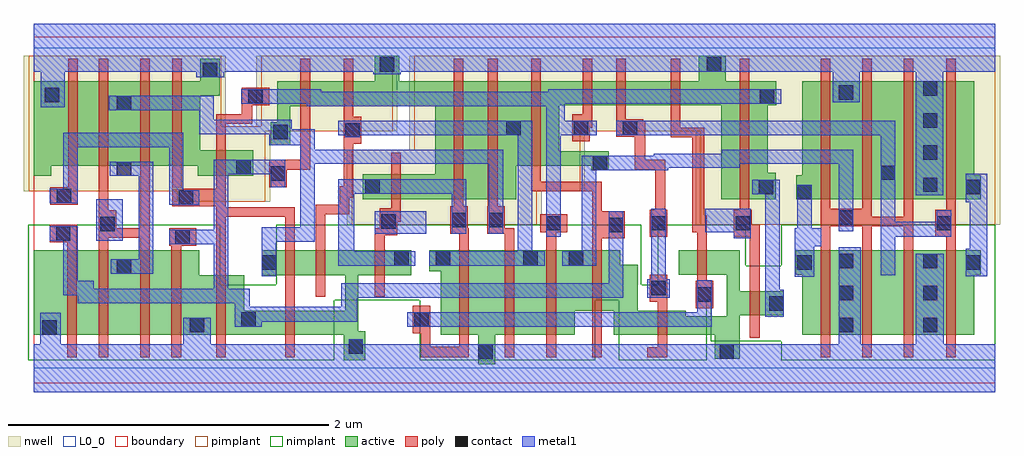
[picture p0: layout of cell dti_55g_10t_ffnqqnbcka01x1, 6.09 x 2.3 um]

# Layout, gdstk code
from math import pi, radians
import gdstk
lib = gdstk.Library(unit=1e-6, precision=1e-09)
def R(c, l, rs):  # rectangles x0, y0, x1, y1
    for r in rs: c.add(gdstk.rectangle(r[:2], r[2:], *l))
def A(c, l, x, y, w, h, nx, ny, dx, dy):  # array of equal rectangles
    R(c, l, [(x+i*dx, y+j*dy, x+i*dx+w, y+j*dy+h) for i in range(nx) for j in range(ny)])
L0_0 = (0, 0)
nwell = (3, 0)
active = (6, 0)
poly = (17, 0)
pimplant = (25, 0)
nimplant = (26, 0)
contact = (30, 0)
metal1 = (31, 0)
boundary = (108, 0)
L923_0 = (923, 0)

template_55g_10t = lib.new_cell('template_55g_10t')
R(template_55g_10t, metal1, [(0,-0.15,0.2,0.15), (0,1.85,0.2,2.15)])
template_55g_10t.add(gdstk.FlexPath([(0.2,0.21),(0,0.21)], 0, ends="flush", simple_path=True, layer=923, datatype=0))  # L923_0
template_55g_10t.add(gdstk.FlexPath([(0.2,0.735),(0,0.735)], 0, ends="flush", simple_path=True, layer=923, datatype=0))  # L923_0
template_55g_10t.add(gdstk.FlexPath([(0.2,0.895),(0,0.895)], 0, ends="flush", simple_path=True, layer=923, datatype=0))  # L923_0
template_55g_10t.add(gdstk.FlexPath([(0.2,1.055),(0,1.055)], 0, ends="flush", simple_path=True, layer=923, datatype=0))  # L923_0
template_55g_10t.add(gdstk.FlexPath([(0.2,1.79),(0,1.79)], 0, ends="flush", simple_path=True, layer=923, datatype=0))  # L923_0

cellgrid_nom2 = lib.new_cell('cellgrid_noM2')
R(cellgrid_nom2, L0_0, [(0,0,0.2,0.2)])
cellgrid_nom2.add(gdstk.FlexPath([(0.2,0),(0,0.2)], 0, ends="flush", simple_path=True, layer=0, datatype=0))  # L0_0
cellgrid_nom2.add(gdstk.FlexPath([(0.2,0.2),(0,0)], 0, ends="flush", simple_path=True, layer=0, datatype=0))  # L0_0

pmos_15_n_2 = lib.new_cell('pmos_15_n_2')
R(pmos_15_n_2, nwell, [(-0.275,-0.16,0.335,0.31)])
R(pmos_15_n_2, active, [(-0.115,0,0.175,0.15)])
R(pmos_15_n_2, poly, [(0,-0.14,0.06,0.29)])
R(pmos_15_n_2, pimplant, [(-0.245,-0.16,0.305,0.31)])

pmos_735_n_2 = lib.new_cell('pmos_735_n_2')
R(pmos_735_n_2, nwell, [(-0.275,-0.16,0.335,0.895)])
R(pmos_735_n_2, active, [(-0.115,0,0.175,0.735)])
R(pmos_735_n_2, poly, [(0,-0.14,0.06,0.875)])
R(pmos_735_n_2, pimplant, [(-0.245,-0.16,0.305,0.895)])

pmos_4_n_2 = lib.new_cell('pmos_4_n_2')
R(pmos_4_n_2, nwell, [(-0.275,-0.16,0.335,0.56)])
R(pmos_4_n_2, active, [(-0.115,0,0.175,0.4)])
R(pmos_4_n_2, poly, [(0,-0.14,0.06,0.54)])
R(pmos_4_n_2, pimplant, [(-0.245,-0.16,0.305,0.56)])

nmos_525_n_2 = lib.new_cell('nmos_525_n_2')
R(nmos_525_n_2, active, [(-0.115,0,0.175,0.525)])
R(nmos_525_n_2, poly, [(0,-0.14,0.06,0.665)])
R(nmos_525_n_2, nimplant, [(-0.245,-0.16,0.305,0.685)])

cnt = lib.new_cell('cnt')
R(cnt, contact, [(-0.045,-0.045,0.045,0.045)])
R(cnt, metal1, [(-0.045,-0.045,0.045,0.045)])

pcnt_v = lib.new_cell('pcnt_v')
R(pcnt_v, poly, [(-0.055,-0.085,0.055,0.085)])
pcnt_v.add(gdstk.Reference(cnt, (0,0)))

nmos_15_n_2 = lib.new_cell('nmos_15_n_2')
R(nmos_15_n_2, active, [(-0.115,0,0.175,0.15)])
R(nmos_15_n_2, poly, [(0,-0.14,0.06,0.29)])
R(nmos_15_n_2, nimplant, [(-0.245,-0.16,0.305,0.31)])

dti_55g_10t_ffnqqnbcka01 = lib.new_cell('dti_55g_10t_ffnqqnbcka01x1')
R(dti_55g_10t_ffnqqnbcka01, active, [(2.775,0.025,2.88,0.21), (1.935,0.05,2.07,0.23), (4.25,0.06,4.405,0.21), (0,0.21,1.035,0.735), (1.035,0.21,1.315,0.58), (1.315,0.21,1.945,0.36), (2.54,0.21,3.375,0.73), (3.62,0.21,4.07,0.36), (4.07,0.21,4.405,0.325), (1.945,0.23,2.025,0.595), (4.325,0.325,4.405,0.735), (4.645,0.33,4.68,0.48), (3.375,0.36,3.77,0.645), (1.425,0.58,2.355,0.735), (4.025,0.585,4.405,0.735), (4.755,0.585,4.88,0.735), (5.865,0.585,5.91,0.735), (2.47,0.605,2.54,0.735), (2.055,1.055,3.01,1.21), (4.51,1.055,4.63,1.22), (4.76,1.055,4.88,1.205), (5.79,1.055,5.91,1.205), (0,1.2,0.11,1.79), (1.03,1.2,1.37,1.36), (3.48,1.235,3.59,1.265), (3.28,1.265,3.59,1.355), (1.48,1.39,1.6,1.535), (1.52,1.535,1.6,1.79), (1.6,1.635,2.505,1.79), (3.28,1.64,4.635,1.79), (0.925,1.7,1.045,1.79), (1.04,1.7,1.16,1.93), (2.13,1.79,2.28,1.95), (4.15,1.79,4.32,1.95)])
A(dti_55g_10t_ffnqqnbcka01, poly, 4.91, 0.875, 0.06, 0.04, 3, 1, 0.26, 0)
R(dti_55g_10t_ffnqqnbcka01, poly, [(2.415,0.07,2.475,0.22), (2.475,0.07,2.715,0.135), (3.485,0.07,3.545,0.445), (3.83,0.07,3.955,0.13), (1.14,0.5,1.2,1.06), (1.57,0.5,1.63,0.945), (4.47,0.62,4.53,0.895), (3.545,0.81,3.58,0.98), (0.515,0.815,0.665,0.875), (4.11,0.85,4.2,0.955), (0.665,0.875,0.725,1.125), (1.76,0.875,1.82,1.02), (3.485,0.875,3.545,1.105), (5.695,0.875,5.755,0.915), (4.97,0.885,4.985,0.995), (5.155,0.885,5.17,0.995), (5.23,0.885,5.43,0.945), (1.2,0.945,1.63,1.005), (4.11,0.955,4.185,1.44), (1.82,0.96,1.97,1.02), (0.405,0.985,0.465,1.125), (3.88,0.99,3.94,1.24), (1.035,1.01,1.14,1.12), (1.91,1.02,1.97,1.135), (1.935,1.065,1.995,1.4), (3.105,1.105,3.545,1.165), (1.58,1.24,1.725,1.3), (3.75,1.24,3.815,1.545), (3.815,1.24,3.94,1.3), (1.665,1.3,1.725,1.5), (3.975,1.44,4.185,1.5), (1.14,1.49,1.2,1.585), (1.2,1.525,1.365,1.585), (1.3,1.585,1.365,1.64)])
R(dti_55g_10t_ffnqqnbcka01, metal1, [(0.04,0,0.17,0.345), (0.935,0.15,1.105,0.315), (5.025,0.15,5.16,0.755), (5.505,0.15,5.68,0.715), (1.255,0.26,1.425,0.385), (2.33,0.26,4.14,0.35), (4.14,0.26,4.23,0.55), (1.425,0.29,1.92,0.385), (1.92,0.29,2.02,0.44), (4.565,0.32,4.68,0.49), (1.255,0.385,1.35,0.495), (0.275,0.405,0.375,0.545), (0.375,0.405,1.255,0.495), (1.92,0.44,3.68,0.53), (3.83,0.44,3.97,0.555), (0.185,0.455,0.275,0.795), (4.565,0.49,4.655,1.085), (1.125,0.495,1.215,1.3), (3.59,0.53,3.68,0.98), (3.855,0.555,3.945,0.995), (4.75,0.57,4.87,0.76), (1.425,0.575,1.515,0.88), (5.815,0.575,5.95,0.745), (5.285,0.58,5.375,1.545), (0.48,0.59,0.745,0.68), (1.9,0.64,2,1.18), (2,0.64,2.38,0.73), (2.47,0.64,3.19,0.73), (3.3,0.64,3.51,0.73), (0.655,0.68,0.745,1.29), (3.02,0.73,3.11,1.455), (3.42,0.73,3.51,1.325), (5.84,0.745,5.95,1.035), (4.75,0.76,4.915,0.875), (0.845,0.775,1.125,0.865), (1.515,0.79,1.755,0.88), (0.1,0.795,0.275,0.885), (0.39,0.795,0.555,1.055), (4.37,0.81,4.475,0.85), (3.2,0.82,3.29,1.455), (5.375,0.82,5.64,0.915), (5.635,0.82,5.725,0.985), (2.13,0.84,2.45,0.98), (2.61,0.84,2.7,1.18), (2.84,0.84,2.93,1.28), (4.19,0.85,4.475,0.995), (5.025,0.855,5.115,1.275), (4.765,0.875,4.855,1.055), (1.665,0.88,1.755,1.275), (0.845,1.02,1.035,1.11), (0.1,1.03,0.275,1.12), (5.815,1.035,5.95,1.215), (5.505,1.08,5.675,1.85), (4.485,1.085,4.655,1.175), (2,1.09,2.61,1.18), (0.845,1.11,0.935,1.38), (0.185,1.12,0.275,1.47), (1.48,1.13,1.57,1.3), (0.475,1.2,0.655,1.29), (1.215,1.21,1.48,1.3), (3.51,1.235,3.96,1.325), (3.87,1.25,4.405,1.34), (1.665,1.275,1.755,1.49), (1.755,1.275,2.93,1.365), (4.295,1.275,5.115,1.365), (0.275,1.38,0.935,1.47), (1.47,1.39,1.61,1.55), (1.61,1.39,1.665,1.49), (1.9,1.455,3.11,1.545), (3.2,1.455,3.315,1.725), (3.315,1.455,3.515,1.545), (3.635,1.455,5.285,1.545), (1.035,1.46,1.125,1.7), (1.125,1.46,1.47,1.55), (0.47,1.61,1.035,1.7), (0.045,1.63,0.195,1.85), (1.705,1.635,1.795,1.74), (1.795,1.635,3.2,1.725), (1.295,1.65,1.705,1.74), (3.21,1.65,4.665,1.74), (4.985,1.66,5.155,1.85), (1.015,1.815,1.19,1.985), (2.12,1.835,2.29,1.85)])
R(dti_55g_10t_ffnqqnbcka01, boundary, [(0,-0.095,6,2.07)])
r = gdstk.Reference(template_55g_10t, (0,0)); r.repetition = gdstk.Repetition(30, 1, v1=(0.2,0), v2=(0,0)); dti_55g_10t_ffnqqnbcka01.add(r)
r = gdstk.Reference(cellgrid_nom2, (0,0)); r.repetition = gdstk.Repetition(30, 10, v1=(0.2,0), v2=(0,0.2)); dti_55g_10t_ffnqqnbcka01.add(r)
dti_55g_10t_ffnqqnbcka01.add(gdstk.Reference(pmos_15_n_2, (2.23,1.055)))
dti_55g_10t_ffnqqnbcka01.add(gdstk.Reference(pmos_735_n_2, (2.62,1.055)))
dti_55g_10t_ffnqqnbcka01.add(gdstk.Reference(pmos_735_n_2, (2.835,1.055)))
r = gdstk.Reference(pmos_4_n_2, (3.105,1.265)); r.repetition = gdstk.Repetition(1, 2, v1=(0,0), v2=(0,0.125)); dti_55g_10t_ffnqqnbcka01.add(r)
dti_55g_10t_ffnqqnbcka01.add(gdstk.Reference(pmos_735_n_2, (4.405,1.055)))
dti_55g_10t_ffnqqnbcka01.add(gdstk.Reference(pmos_735_n_2, (4.91,1.055)))
dti_55g_10t_ffnqqnbcka01.add(gdstk.Reference(pmos_735_n_2, (5.17,1.055)))
dti_55g_10t_ffnqqnbcka01.add(gdstk.Reference(pmos_735_n_2, (5.43,1.055)))
dti_55g_10t_ffnqqnbcka01.add(gdstk.Reference(pmos_735_n_2, (5.695,1.055)))
dti_55g_10t_ffnqqnbcka01.add(gdstk.Reference(nmos_525_n_2, (2.94,0.21)))
dti_55g_10t_ffnqqnbcka01.add(gdstk.Reference(nmos_525_n_2, (3.2,0.21)))
dti_55g_10t_ffnqqnbcka01.add(gdstk.Reference(pcnt_v, (2.655,0.925)))
dti_55g_10t_ffnqqnbcka01.add(gdstk.Reference(pcnt_v, (2.885,0.925)))
dti_55g_10t_ffnqqnbcka01.add(gdstk.Reference(cnt, (2.995,1.5)))
dti_55g_10t_ffnqqnbcka01.add(gdstk.Reference(pmos_15_n_2, (3.635,1.64)))
dti_55g_10t_ffnqqnbcka01.add(gdstk.Reference(pmos_15_n_2, (3.975,1.64)))
dti_55g_10t_ffnqqnbcka01.add(gdstk.Reference(pcnt_v, (3.415,1.5)))
dti_55g_10t_ffnqqnbcka01.add(gdstk.Reference(pcnt_v, (3.72,1.5), rotation=pi/2))
dti_55g_10t_ffnqqnbcka01.add(gdstk.Reference(pmos_15_n_2, (3.425,1.64)))
dti_55g_10t_ffnqqnbcka01.add(gdstk.Reference(cnt, (3.535,1.28)))
dti_55g_10t_ffnqqnbcka01.add(gdstk.Reference(cnt, (4.245,1.895)))
dti_55g_10t_ffnqqnbcka01.add(gdstk.Reference(cnt, (4.575,1.695)))
dti_55g_10t_ffnqqnbcka01.add(gdstk.Reference(cnt, (4.57,1.13)))
dti_55g_10t_ffnqqnbcka01.add(gdstk.Reference(cnt, (4.81,1.1)))
dti_55g_10t_ffnqqnbcka01.add(gdstk.Reference(cnt, (5.07,1.72)))
dti_55g_10t_ffnqqnbcka01.add(gdstk.Reference(cnt, (5.33,1.22)))
dti_55g_10t_ffnqqnbcka01.add(gdstk.Reference(cnt, (5.595,1.745)))
dti_55g_10t_ffnqqnbcka01.add(gdstk.Reference(cnt, (5.595,1.545)))
dti_55g_10t_ffnqqnbcka01.add(gdstk.Reference(cnt, (5.595,1.345)))
dti_55g_10t_ffnqqnbcka01.add(gdstk.Reference(cnt, (5.595,1.145)))
dti_55g_10t_ffnqqnbcka01.add(gdstk.Reference(cnt, (5.86,1.13)))
dti_55g_10t_ffnqqnbcka01.add(gdstk.Reference(cnt, (0.565,1.655)))
dti_55g_10t_ffnqqnbcka01.add(gdstk.Reference(cnt, (0.565,1.245)))
dti_55g_10t_ffnqqnbcka01.add(gdstk.Reference(cnt, (1.1,1.86)))
dti_55g_10t_ffnqqnbcka01.add(gdstk.Reference(cnt, (1.31,1.255)))
dti_55g_10t_ffnqqnbcka01.add(gdstk.Reference(cnt, (1.54,1.475)))
dti_55g_10t_ffnqqnbcka01.add(gdstk.Reference(cnt, (1.525,1.215)))
dti_55g_10t_ffnqqnbcka01.add(gdstk.Reference(cnt, (2.205,1.895)))
dti_55g_10t_ffnqqnbcka01.add(gdstk.Reference(cnt, (2.115,1.135)))
dti_55g_10t_ffnqqnbcka01.add(gdstk.Reference(pmos_15_n_2, (1.14,1.2)))
dti_55g_10t_ffnqqnbcka01.add(gdstk.Reference(pmos_15_n_2, (1.665,1.64)))
dti_55g_10t_ffnqqnbcka01.add(gdstk.Reference(pmos_15_n_2, (1.935,1.64)))
dti_55g_10t_ffnqqnbcka01.add(gdstk.Reference(pcnt_v, (0.19,1.075), rotation=pi/2))
dti_55g_10t_ffnqqnbcka01.add(gdstk.Reference(pcnt_v, (0.95,1.065), rotation=pi/2))
dti_55g_10t_ffnqqnbcka01.add(gdstk.Reference(pcnt_v, (1.525,1.215)))
dti_55g_10t_ffnqqnbcka01.add(gdstk.Reference(pcnt_v, (1.385,1.695), rotation=pi/2))
dti_55g_10t_ffnqqnbcka01.add(gdstk.Reference(pcnt_v, (1.99,1.485)))
r = gdstk.Reference(pmos_4_n_2, (0.215,1.265)); r.repetition = gdstk.Repetition(1, 2, v1=(0,0), v2=(0,0.125)); dti_55g_10t_ffnqqnbcka01.add(r)
r = gdstk.Reference(pmos_4_n_2, (0.405,1.265)); r.repetition = gdstk.Repetition(1, 2, v1=(0,0), v2=(0,0.125)); dti_55g_10t_ffnqqnbcka01.add(r)
r = gdstk.Reference(pmos_4_n_2, (0.665,1.265)); r.repetition = gdstk.Repetition(1, 2, v1=(0,0), v2=(0,0.125)); dti_55g_10t_ffnqqnbcka01.add(r)
r = gdstk.Reference(pmos_4_n_2, (0.865,1.265)); r.repetition = gdstk.Repetition(1, 2, v1=(0,0), v2=(0,0.125)); dti_55g_10t_ffnqqnbcka01.add(r)
dti_55g_10t_ffnqqnbcka01.add(gdstk.Reference(cnt, (0.115,1.705)))
dti_55g_10t_ffnqqnbcka01.add(gdstk.Reference(pcnt_v, (2.215,0.915)))
dti_55g_10t_ffnqqnbcka01.add(gdstk.Reference(nmos_15_n_2, (2.13,0.585)))
dti_55g_10t_ffnqqnbcka01.add(gdstk.Reference(nmos_525_n_2, (2.655,0.21)))
dti_55g_10t_ffnqqnbcka01.add(gdstk.Reference(nmos_525_n_2, (0.21,0.21)))
dti_55g_10t_ffnqqnbcka01.add(gdstk.Reference(nmos_525_n_2, (0.405,0.21)))
dti_55g_10t_ffnqqnbcka01.add(gdstk.Reference(pcnt_v, (2.42,0.305)))
dti_55g_10t_ffnqqnbcka01.add(gdstk.Reference(nmos_525_n_2, (0.665,0.21)))
dti_55g_10t_ffnqqnbcka01.add(gdstk.Reference(pcnt_v, (0.185,0.84), rotation=pi/2))
dti_55g_10t_ffnqqnbcka01.add(gdstk.Reference(pcnt_v, (0.46,0.9)))
dti_55g_10t_ffnqqnbcka01.add(gdstk.Reference(nmos_525_n_2, (0.86,0.21)))
dti_55g_10t_ffnqqnbcka01.add(gdstk.Reference(pcnt_v, (0.93,0.82), rotation=pi/2))
dti_55g_10t_ffnqqnbcka01.add(gdstk.Reference(nmos_15_n_2, (1.14,0.21)))
dti_55g_10t_ffnqqnbcka01.add(gdstk.Reference(nmos_15_n_2, (1.57,0.21)))
dti_55g_10t_ffnqqnbcka01.add(gdstk.Reference(nmos_15_n_2, (1.76,0.585)))
dti_55g_10t_ffnqqnbcka01.add(gdstk.Reference(cnt, (2.82,0.105)))
dti_55g_10t_ffnqqnbcka01.add(gdstk.Reference(cnt, (2.555,0.685)))
dti_55g_10t_ffnqqnbcka01.add(gdstk.Reference(cnt, (2.295,0.685)))
dti_55g_10t_ffnqqnbcka01.add(gdstk.Reference(cnt, (2.01,0.135)))
dti_55g_10t_ffnqqnbcka01.add(gdstk.Reference(cnt, (1.47,0.66)))
dti_55g_10t_ffnqqnbcka01.add(gdstk.Reference(cnt, (1.34,0.305)))
dti_55g_10t_ffnqqnbcka01.add(gdstk.Reference(cnt, (1.02,0.27)))
dti_55g_10t_ffnqqnbcka01.add(gdstk.Reference(cnt, (0.565,0.635)))
dti_55g_10t_ffnqqnbcka01.add(gdstk.Reference(cnt, (0.1,0.255)))
dti_55g_10t_ffnqqnbcka01.add(gdstk.Reference(nmos_525_n_2, (5.17,0.21)))
dti_55g_10t_ffnqqnbcka01.add(gdstk.Reference(nmos_525_n_2, (5.43,0.21)))
dti_55g_10t_ffnqqnbcka01.add(gdstk.Reference(nmos_525_n_2, (5.695,0.21)))
dti_55g_10t_ffnqqnbcka01.add(gdstk.Reference(nmos_15_n_2, (3.485,0.585)))
dti_55g_10t_ffnqqnbcka01.add(gdstk.Reference(nmos_15_n_2, (3.895,0.21)))
dti_55g_10t_ffnqqnbcka01.add(gdstk.Reference(nmos_15_n_2, (4.14,0.585)))
dti_55g_10t_ffnqqnbcka01.add(gdstk.Reference(pcnt_v, (3.245,0.905), rotation=pi/2))
dti_55g_10t_ffnqqnbcka01.add(gdstk.Reference(cnt, (5.86,0.66)))
dti_55g_10t_ffnqqnbcka01.add(gdstk.Reference(cnt, (5.595,0.67)))
dti_55g_10t_ffnqqnbcka01.add(gdstk.Reference(cnt, (5.595,0.47)))
dti_55g_10t_ffnqqnbcka01.add(gdstk.Reference(cnt, (5.595,0.27)))
dti_55g_10t_ffnqqnbcka01.add(gdstk.Reference(cnt, (5.07,0.27)))
dti_55g_10t_ffnqqnbcka01.add(gdstk.Reference(cnt, (5.07,0.47)))
dti_55g_10t_ffnqqnbcka01.add(gdstk.Reference(cnt, (5.07,0.67)))
dti_55g_10t_ffnqqnbcka01.add(gdstk.Reference(cnt, (4.81,0.66)))
dti_55g_10t_ffnqqnbcka01.add(gdstk.Reference(cnt, (4.635,0.405)))
dti_55g_10t_ffnqqnbcka01.add(gdstk.Reference(cnt, (4.325,0.105)))
dti_55g_10t_ffnqqnbcka01.add(gdstk.Reference(cnt, (3.385,0.685)))
dti_55g_10t_ffnqqnbcka01.add(gdstk.Reference(cnt, (3.1,0.685)))
dti_55g_10t_ffnqqnbcka01.add(gdstk.Reference(pcnt_v, (3.635,0.895)))
dti_55g_10t_ffnqqnbcka01.add(gdstk.Reference(pcnt_v, (3.9,0.905)))
dti_55g_10t_ffnqqnbcka01.add(gdstk.Reference(nmos_15_n_2, (4.47,0.33)))
dti_55g_10t_ffnqqnbcka01.add(gdstk.Reference(nmos_525_n_2, (4.91,0.21)))
dti_55g_10t_ffnqqnbcka01.add(gdstk.Reference(pcnt_v, (4.425,0.905)))
dti_55g_10t_ffnqqnbcka01.add(gdstk.Reference(pcnt_v, (3.9,0.5)))
dti_55g_10t_ffnqqnbcka01.add(gdstk.Reference(pcnt_v, (4.185,0.46)))
dti_55g_10t_ffnqqnbcka01.add(gdstk.Reference(pcnt_v, (5.07,0.94), rotation=pi/2))
dti_55g_10t_ffnqqnbcka01.add(gdstk.Reference(pcnt_v, (5.68,0.905)))

lib.write_gds('dti_55g_10t_ffnqqnbcka01x1.gds')
